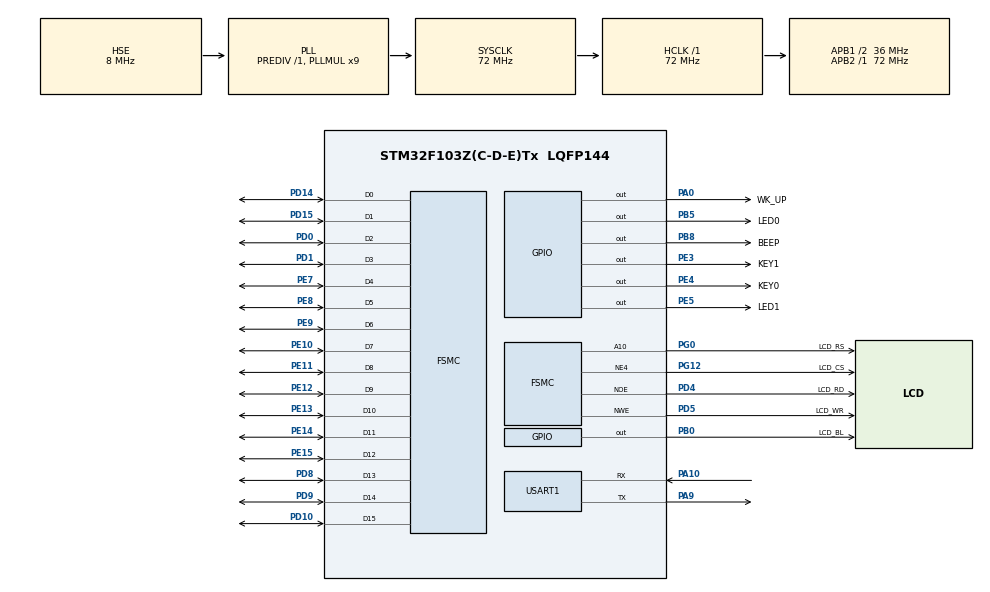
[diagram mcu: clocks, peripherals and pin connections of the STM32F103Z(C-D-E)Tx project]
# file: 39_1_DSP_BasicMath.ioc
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FSMC.AddressSetupTime1=0
FSMC.BusTurnAroundDuration1=15
FSMC.DataSetupTime1=15
FSMC.ExtendedAddressSetupTime1=0
FSMC.ExtendedDataSetupTime1=1
FSMC.ExtendedMode1=FSMC_EXTENDED_MODE_ENABLE
Mcu.Family=STM32F1
Mcu.Name=STM32F103Z(C-D-E)Tx
Mcu.Package=LQFP144
NVIC.PriorityGroup=NVIC_PRIORITYGROUP_2
NVIC.TIM6_IRQn=true\:2\:1\:true\:false\:true\:true\:true\:true
NVIC.USART1_IRQn=true\:2\:2\:true\:false\:true\:true\:true\:true
OSC_IN.Mode=HSE-External-Oscillator
OSC_IN.Signal=RCC_OSC_IN
OSC_OUT.Mode=HSE-External-Oscillator
OSC_OUT.Signal=RCC_OSC_OUT
PA0-WKUP.GPIO_Label=WK_UP
PA0-WKUP.GPIO_PuPd=GPIO_PULLDOWN
PA0-WKUP.GPIO_Speed=GPIO_SPEED_FREQ_HIGH
PA0-WKUP.PinState=GPIO_PIN_RESET
PA0-WKUP.Signal=GPIO_Output
PA10.Mode=Asynchronous
PA10.Signal=USART1_RX
PA13.Mode=Serial_Wire
PA13.Signal=SYS_JTMS-SWDIO
PA14.Mode=Serial_Wire
PA14.Signal=SYS_JTCK-SWCLK
PA9.Mode=Asynchronous
PA9.Signal=USART1_TX
PB0.GPIO_Label=LCD_BL
PB0.GPIO_PuPd=GPIO_PULLUP
PB0.GPIO_Speed=GPIO_SPEED_FREQ_HIGH
PB0.PinState=GPIO_PIN_SET
PB0.Signal=GPIO_Output
PB5.GPIO_Label=LED0
PB5.GPIO_PuPd=GPIO_PULLUP
PB5.GPIO_Speed=GPIO_SPEED_FREQ_HIGH
PB5.PinState=GPIO_PIN_SET
PB5.Signal=GPIO_Output
PB8.GPIO_Label=BEEP
PB8.GPIO_ModeDefaultOutputPP=GPIO_MODE_OUTPUT_PP
PB8.GPIO_PuPd=GPIO_PULLDOWN
PB8.GPIO_Speed=GPIO_SPEED_FREQ_HIGH
PB8.PinState=GPIO_PIN_RESET
PB8.Signal=GPIO_Output
PC14-OSC32_IN.Mode=LSE-External-Oscillator
PC14-OSC32_IN.Signal=RCC_OSC32_IN
PC15-OSC32_OUT.Mode=LSE-External-Oscillator
PC15-OSC32_OUT.Signal=RCC_OSC32_OUT
PD0.Signal=FSMC_D2_DA2
PD1.Signal=FSMC_D3_DA3
PD10.Signal=FSMC_D15_DA15
PD14.Signal=FSMC_D0_DA0
PD15.Signal=FSMC_D1_DA1
PD4.GPIO_Label=LCD_RD
PD4.Signal=FSMC_NOE
PD5.GPIO_Label=LCD_WR
PD5.Signal=FSMC_NWE
PD8.Signal=FSMC_D13_DA13
PD9.Signal=FSMC_D14_DA14
PE10.Signal=FSMC_D7_DA7
PE11.Signal=FSMC_D8_DA8
PE12.Signal=FSMC_D9_DA9
PE13.Signal=FSMC_D10_DA10
PE14.Signal=FSMC_D11_DA11
PE15.Signal=FSMC_D12_DA12
PE3.GPIO_Label=KEY1
PE3.GPIO_PuPd=GPIO_PULLUP
PE3.GPIO_Speed=GPIO_SPEED_FREQ_HIGH
PE3.PinState=GPIO_PIN_SET
PE3.Signal=GPIO_Output
PE4.GPIO_Label=KEY0
PE4.GPIO_PuPd=GPIO_PULLUP
PE4.GPIO_Speed=GPIO_SPEED_FREQ_HIGH
PE4.PinState=GPIO_PIN_SET
PE4.Signal=GPIO_Output
PE5.GPIO_Label=LED1
PE5.GPIO_PuPd=GPIO_PULLUP
PE5.GPIO_Speed=GPIO_SPEED_FREQ_HIGH
PE5.PinState=GPIO_PIN_SET
PE5.Signal=GPIO_Output
PE7.Signal=FSMC_D4_DA4
PE8.Signal=FSMC_D5_DA5
PE9.Signal=FSMC_D6_DA6
PG0.GPIO_Label=LCD_RS
PG0.Signal=FSMC_A10
PG12.GPIO_Label=LCD_CS
PG12.Mode=NorPsramChipSelect4_1
PG12.Signal=FSMC_NE4
ProjectManager.HeapSize=0x200
ProjectManager.StackSize=0x400
ProjectManager.TargetToolchain=STM32CubeIDE
RCC.AHBFreq_Value=72000000
RCC.APB1CLKDivider=RCC_HCLK_DIV2
RCC.APB1Freq_Value=36000000
RCC.APB1TimFreq_Value=72000000
RCC.APB2Freq_Value=72000000
RCC.APB2TimFreq_Value=72000000
RCC.HCLKFreq_Value=72000000
RCC.PLLMUL=RCC_PLL_MUL9
RCC.PLLSourceVirtual=RCC_PLLSOURCE_HSE
RCC.SYSCLKFreq_VALUE=72000000
RCC.SYSCLKSource=RCC_SYSCLKSOURCE_PLLCLK
RCC.USBFreq_Value=72000000
SH.FSMC_A10.0=FSMC_A10,A10_1
SH.FSMC_D0_DA0.0=FSMC_D0,16b-d1
SH.FSMC_D10_DA10.0=FSMC_D10,16b-d1
SH.FSMC_D11_DA11.0=FSMC_D11,16b-d1
SH.FSMC_D12_DA12.0=FSMC_D12,16b-d1
SH.FSMC_D13_DA13.0=FSMC_D13,16b-d1
SH.FSMC_D14_DA14.0=FSMC_D14,16b-d1
SH.FSMC_D15_DA15.0=FSMC_D15,16b-d1
SH.FSMC_D1_DA1.0=FSMC_D1,16b-d1
SH.FSMC_D2_DA2.0=FSMC_D2,16b-d1
SH.FSMC_D3_DA3.0=FSMC_D3,16b-d1
SH.FSMC_D4_DA4.0=FSMC_D4,16b-d1
SH.FSMC_D5_DA5.0=FSMC_D5,16b-d1
SH.FSMC_D6_DA6.0=FSMC_D6,16b-d1
SH.FSMC_D7_DA7.0=FSMC_D7,16b-d1
SH.FSMC_D8_DA8.0=FSMC_D8,16b-d1
SH.FSMC_D9_DA9.0=FSMC_D9,16b-d1
SH.FSMC_NOE.0=FSMC_NOE,Lcd1
SH.FSMC_NWE.0=FSMC_NWE,Lcd1
TIM6.AutoReloadPreload=TIM_AUTORELOAD_PRELOAD_ENABLE
TIM6.Prescaler=7200 - 1
USART1.VirtualMode=VM_ASYNC
VP_TIM6_VS_ClockSourceINT.Mode=Enable_Timer
board=custom

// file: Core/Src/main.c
/* USER CODE BEGIN Header */
/**
 ****************************************************************************************************
 * @file        main.c
 * @author      正点原子团队(ALIENTEK)
 * @version     V1.0
 * @date        2024-01-01
 * @brief       DSP BasicMath 实验
 * @license     Copyright (c) 2020-2032, 广州市星翼电子科技有限公司
 ****************************************************************************************************
 * @attention
 *
 * 实验平台:正点原子 STM32F103开发板
 * 在线视频:www.yuanzige.com
 * 技术论坛:www.openedv.com
 * 公司网址:www.alientek.com
 * 购买地址:openedv.taobao.com
 *
 ****************************************************************************************************
 */
/* USER CODE END Header */
#include "main.h"
#include "tim.h"
#include "usart.h"
#include "gpio.h"
#include "fsmc.h"

/* USER CODE BEGIN Includes */
#include "../../BSP/LED/led.h"
#include "../../BSP/BEEP/beep.h"
#include "../../BSP/KEY/key.h"
#include "../../BSP/LCD/lcd.h"
#include "../../SYSTEM/delay/delay.h"
#include "../../SYSTEM/sys/sys.h"
#include "arm_math.h"
/* USER CODE END Includes */

/* USER CODE BEGIN PTD */
#define DELTA   0.0001f                 /* 误差值 */
uint8_t g_timeout;
/* USER CODE END PTD */

/* USER CODE BEGIN PD */
/**
 * @brief       sin cos 测试
 * @param       angle : 起始角度
 * @param       times : 运算次数
 * @param       mode  : 是否使用DSP库
 *   @arg       0 , 不使用DSP库;
 *   @arg       1 , 使用DSP库;
 *
 * @retval      无
 */
uint8_t sin_cos_test(float angle, uint32_t times, uint8_t mode)
{
    float sinx, cosx;
    float result;
    uint32_t i = 0;

    if (mode == 0)
    {
        for (i = 0; i < times; i++)
        {
            cosx = cosf(angle);                 /* 不使用DSP优化的sin，cos函数 */
            sinx = sinf(angle);
            result = sinx * sinx + cosx * cosx; /* 计算结果应该等于1 */
            result = fabsf(result - 1.0f);      /* 对比与1的差值 */

            if (result > DELTA)return 0XFF;     /* 判断失败 */

            angle += 0.001f;    /* 角度自增 */
        }
    }
    else
    {
        for (i = 0; i < times; i++)
        {

            cosx = arm_cos_f32(angle);          /* 使用DSP优化的sin，cos函数 */
            sinx = arm_sin_f32(angle);
            result = sinx * sinx + cosx * cosx; /* 计算结果应该等于1 */
            result = fabsf(result - 1.0f);      /* 对比与1的差值 */

            if (result > DELTA)return 0XFF;     /* 判断失败 */

            angle += 0.001f;    /* 角度自增 */
        }
    }

    return 0;   /* 任务完成 */
}
/* USER CODE END PD */

void SystemClock_Config(void);

int main(void)
{
  /* USER CODE BEGIN 1 */
    float time;
    char buf[50];
    uint8_t res;
  /* USER CODE END 1 */

  /* MCU Configuration--------------------------------------------------------*/

  /* Reset of all peripherals, Initializes the Flash interface and the Systick. */
  HAL_Init();

  /* Configure the system clock */
  SystemClock_Config();

  /* USER CODE BEGIN SysInit */
  delay_init(72);						   /* 初始化延时函数 */
  /* USER CODE END SysInit */

  /* Initialize all configured peripherals */
  MX_GPIO_Init();
  MX_FSMC_Init();
  MX_USART1_UART_Init();
  MX_TIM6_Init();
  /* USER CODE BEGIN 2 */
  lcd_init();                                         /* 初始化LCD */
  lcd_show_string(30,  50, 200, 16, 16, "STM32", RED);
  lcd_show_string(30,  70, 200, 16, 16, "DSP BasicMath TEST", RED);
  lcd_show_string(30,  90, 200, 16, 16, "ATOM@ALIENTEK", RED);
  lcd_show_string(30, 110, 200, 16, 16, " No DSP runtime:", RED); /* 显示提示信息 */
  lcd_show_string(30, 150, 200, 16, 16, "Use DSP runtime:", RED); /* 显示提示信息 */
  /* USER CODE END 2 */

  /* Infinite loop */
  /* USER CODE BEGIN WHILE */
  while (1)
  {
	  /* 不使用DSP优化 */
	  __HAL_TIM_SET_COUNTER(&htim6,0);/* 重设TIM6定时器的计数器值 */
	  g_timeout = 0;
	  res = sin_cos_test(PI / 6, 10000, 0);
	  time = __HAL_TIM_GET_COUNTER(&htim6) + (uint32_t)g_timeout * 65536;
	  sprintf(buf, "%0.1fms\r\n", time / 10);

	  if (res == 0)
	  {
		  lcd_show_string(30 + 16 * 8, 110, 100, 16, 16, buf, BLUE);      /* 显示运行时间 */
	  }
	  else
	  {
		  lcd_show_string(30 + 16 * 8, 110, 100, 16, 16, "error！", BLUE); /* 显示当前运行情况 */
	  }

	  /* 使用DSP优化 */
	  __HAL_TIM_SET_COUNTER(&htim6,0); /* 重设TIM6定时器的计数器值 */
	  g_timeout = 0;
	  res = sin_cos_test(PI / 6, 10000, 1);
	  time = __HAL_TIM_GET_COUNTER(&htim6) + (uint32_t)g_timeout * 65536;
	  sprintf(buf, "%0.1fms\r\n", time / 10);

	  if (res == 0)
	  {
		  lcd_show_string(30 + 16 * 8, 150, 100, 16, 16, buf, BLUE);      /* 显示运行时间 */
	  }
	  else
	  {
		  lcd_show_string(30 + 16 * 8, 150, 100, 16, 16, "error！", BLUE); /* 显示错误 */
	  }

	  LED0_TOGGLE();

    /* USER CODE END WHILE */

  }
}

void SystemClock_Config(void)
{
  RCC_OscInitTypeDef RCC_OscInitStruct = {0};
  RCC_ClkInitTypeDef RCC_ClkInitStruct = {0};

  /** Initializes the RCC Oscillators according to the specified parameters
  * in the RCC_OscInitTypeDef structure.
  */
  RCC_OscInitStruct.OscillatorType = RCC_OSCILLATORTYPE_HSE;
  RCC_OscInitStruct.HSEState = RCC_HSE_ON;
  RCC_OscInitStruct.HSEPredivValue = RCC_HSE_PREDIV_DIV1;
  RCC_OscInitStruct.HSIState = RCC_HSI_ON;
  RCC_OscInitStruct.PLL.PLLState = RCC_PLL_ON;
  RCC_OscInitStruct.PLL.PLLSource = RCC_PLLSOURCE_HSE;
  RCC_OscInitStruct.PLL.PLLMUL = RCC_PLL_MUL9;
  if (HAL_RCC_OscConfig(&RCC_OscInitStruct) != HAL_OK)
  {
    Error_Handler();
  }

  /** Initializes the CPU, AHB and APB buses clocks
  */
  RCC_ClkInitStruct.ClockType = RCC_CLOCKTYPE_HCLK|RCC_CLOCKTYPE_SYSCLK
                              |RCC_CLOCKTYPE_PCLK1|RCC_CLOCKTYPE_PCLK2;
  RCC_ClkInitStruct.SYSCLKSource = RCC_SYSCLKSOURCE_PLLCLK;
  RCC_ClkInitStruct.AHBCLKDivider = RCC_SYSCLK_DIV1;
  RCC_ClkInitStruct.APB1CLKDivider = RCC_HCLK_DIV2;
  RCC_ClkInitStruct.APB2CLKDivider = RCC_HCLK_DIV1;

  if (HAL_RCC_ClockConfig(&RCC_ClkInitStruct, FLASH_LATENCY_2) != HAL_OK)
  {
    Error_Handler();
  }
}

void Error_Handler(void)
{
  __disable_irq();
  while (1)
  {
  }
}
